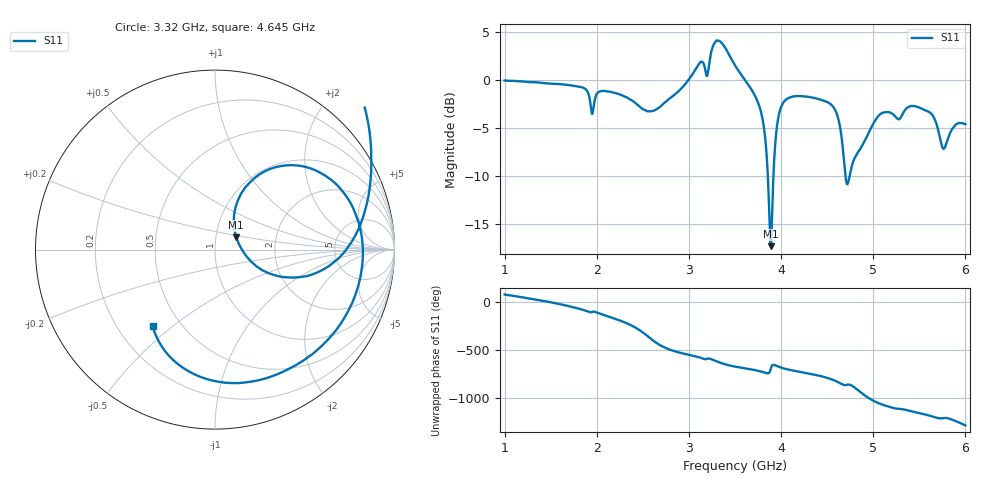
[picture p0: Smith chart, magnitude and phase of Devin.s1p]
!Agilent Technologies,E8364B,MY43040633,A.07.50.37
!Agilent E8364B: A.07.50.37
!Date: Tuesday, December 16, 2025 17:10:54
!Correction: S11(Full 1 Port(1))
!S1P File: Measurement: S11:
# Hz S  RI  R 50
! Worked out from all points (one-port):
!   1001 points, 1 GHz to 6 GHz, reference 50 ohm
!   lowest |S11| = -17.3 dB at 3.89 GHz (marker M1), VSWR 1.32, Z = 62.8 + j8.67 ohm
!   |S11| at or under -10 dB: 3.856 GHz to 3.917 GHz (60.52 MHz wide, 1.56 % of centre); 4.699 GHz to 4.744 GHz (44.83 MHz wide, 0.949 % of centre)
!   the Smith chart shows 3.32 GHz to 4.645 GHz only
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1e9  0.1302 0.9847
1.37e9  0.8781 0.4098
1.625e9  0.8681 -0.3804
1.83e9  0.2795 -0.8742
2.015e9  -0.3182 -0.8025
2.25e9  -0.8301 0.1351
2.425e9  -0.0425 0.7534
2.56e9  0.6876 0.00176
2.69e9  0.00268 -0.7261
2.875e9  -0.8134 -0.2891
3.1e9  -1.004 0.6425
3.245e9  -0.7964 1.174
3.31e9  -0.2521 1.583
3.4e9  0.5191 1.361
3.5e9  0.8129 0.8727
3.74e9  0.7798 0.0747
3.89e9  0.1185 0.0678
3.97e9  0.4296 0.4706
4.125e9  0.8145 0.0913
4.52e9  0.166 -0.7404
4.64e9  -0.3382 -0.4565
4.75e9  -0.2652 -0.1899
4.845e9  -0.3773 0.2026
4.96e9  0.1682 0.5158
5.11e9  0.6744 0.0588
5.375e9  0.4413 -0.5694
5.605e9  -0.1786 -0.6582
6e9  -0.5107 0.2926
